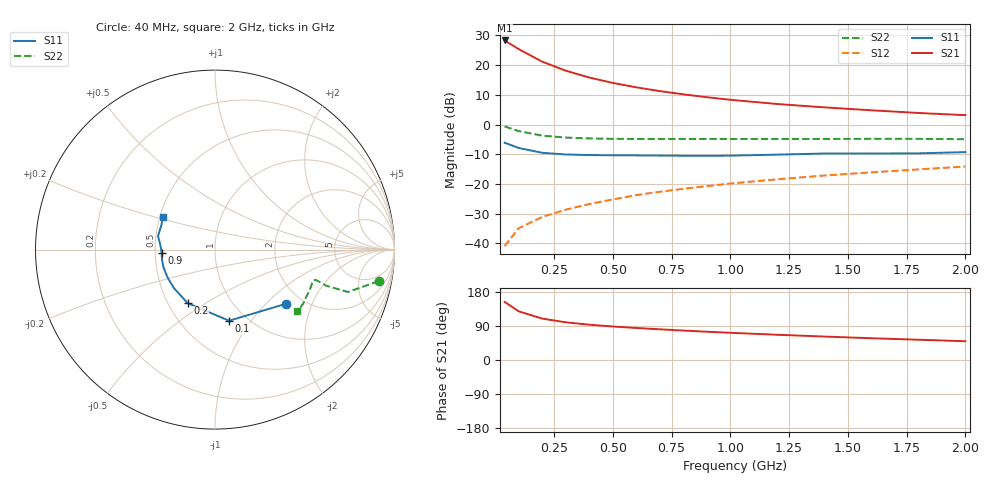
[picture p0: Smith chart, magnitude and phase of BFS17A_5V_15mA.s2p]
! Filename:  BFS17AD.S2P  Version:  2.0
! Philips part #: BFS17A  Date: May 1990
! Bias condition: Vce=5V, Ic=15mA
#  MHz  S  MA  R  50
! Freq  S11  S21  S12  S22  !GUM [dB]
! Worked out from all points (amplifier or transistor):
!   16 points, 40 MHz to 2 GHz, reference 50 ohm
!   highest |S21| = 28.3 dB at 40 MHz (marker M1)
!   |S21| within 3 dB of that: start of sweep to 101.9 MHz
!   unconditionally stable (mu >= 1): 355.7 MHz to end of sweep
!   at 200 MHz: K = 0.82, MSG = 26.1 dB, |S12| = -31.1 dB
!   at 800 MHz: K = 1.11, MAG = 13.9 dB, |S12| = -21.6 dB
!   at 2 GHz: K = 1.01, MAG = 8.1 dB, |S12| = -14.1 dB
!   S11 on the Smith chart (normalised r, x): 40 MHz: 1.64, -1.32; 100 MHz: 0.83, -0.79; 200 MHz: 0.63, -0.42; 900 MHz: 0.54, -0.02; 2 GHz: 0.52, +0.22
40  0.496 -37.6  26.02 153.3  0.009 76.8  0.929 -10.9
100  0.404 -78.8  18.59 128.4  0.018 66.2  0.777 -17.7
200  0.335 -116.9  11.44 109.2  0.028 66.0  0.651 -18.0
300  0.314 -136.4  8.062 99.5  0.037 68.7  0.605 -17.1
400  0.307 -148.4  6.191 93.2  0.046 71.0  0.585 -16.8
500  0.304 -156.1  5.023 88.4  0.055 73.0  0.576 -17.3
600  0.303 -162.1  4.232 84.5  0.065 74.1  0.573 -18.0
700  0.301 -167.2  3.657 81.0  0.074 75.3  0.572 -19.0
800  0.299 -171.9  3.228 77.7  0.083 75.7  0.573 -20.1
900  0.298 -176.8  2.889 74.6  0.092 76.1  0.573 -21.3
1000  0.3 179.4  2.614 71.8  0.102 76.6  0.573 -22.5
1200  0.312 172.0  2.218 66.6  0.12 77.1  0.573 -25.1
1400  0.326 166.8  1.948 61.9  0.139 77.6  0.573 -28.1
1600  0.326 161.6  1.739 57.4  0.157 77.7  0.576 -31.0
1800  0.328 155.4  1.568 53.5  0.176 77.9  0.575 -33.9
2000  0.344 147.8  1.44 49.5  0.197 77.6  0.568 -36.8
